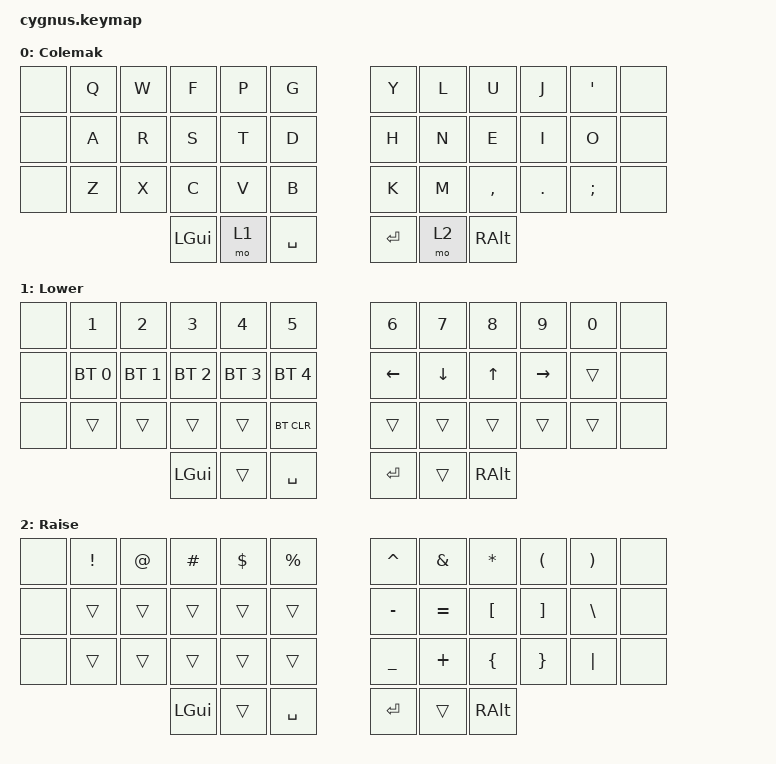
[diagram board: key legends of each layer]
/*
 * Copyright (c) 2020 The ZMK Contributors
 *
 * SPDX-License-Identifier: MIT
 */

#include <behaviors.dtsi>
#include <dt-bindings/zmk/keys.h>
#include <dt-bindings/zmk/bt.h>

/ {
    keymap {
        compatible = "zmk,keymap";

        default_layer { // layer 0

            display-name = "Colemak";
// -----------------------------------------------------------------------------------------
// |      |   Q   |   W   |   F   |   P   |   G   |   |   Y   |   L   |   U   |   J   |   '   |      |
// |      |   A   |   R   |   S   |   T   |   D   |   |   H   |   N   |   E   |   I   |   O   |      |
// |      |   Z   |   X   |   C   |   V   |   B   |   |   K   |   M   |   ,   |   .   |   ;   |      |
//                        |  GUI  |  LWR  |  SPC  |   |  ENT  |  RSE  |  ALT  | 
            bindings = <
    &none  &kp Q   &kp W   &kp F   &kp P   &kp G       &kp Y   &kp L   &kp U   &kp J   &kp SQT  &none
    &none  &kp A   &kp R   &kp S   &kp T   &kp D       &kp H   &kp N   &kp E   &kp I   &kp O    &none
    &none  &kp Z   &kp X   &kp C   &kp V   &kp B       &kp K   &kp M   &kp COMMA &kp DOT &kp SEMI &none
                           &kp LGUI &mo 1  &kp SPACE   &kp RET &mo 2   &kp RALT
            >;
        };
        lower_layer { // layer 1
            display-name = "Lower";
// -----------------------------------------------------------------------------------------
// |  TAB |  1  |  2  |  3  |  4  |  5  |   |  6  |  7  |  8  |  9  |  0  | BSPC |
// | BTCLR| BT1 | BT2 | BT3 | BT4 | BT5 |   | LFT | DWN |  UP | RGT |     |      |
// | SHFT |     |     |     |     |     |   |     |     |     |     |     |      |
//                    | GUI |     | SPC |   | ENT |     | ALT |
            bindings = <
   &none    &kp N1       &kp N2       &kp N3       &kp N4       &kp N5         &kp N6   &kp N7   &kp N8 &kp N9    &kp N0 &none
   &none    &bt BT_SEL 0 &bt BT_SEL 1 &bt BT_SEL 2 &bt BT_SEL 3 &bt BT_SEL 4   &kp LEFT &kp DOWN &kp UP &kp RIGHT &trans &none
   &none    &trans       &trans       &trans       &trans       &bt BT_CLR     &trans   &trans   &trans &trans    &trans &none
                                      &kp LGUI     &trans       &kp SPACE      &kp RET  &trans   &kp RALT
                        >;
        };

        raise_layer { // layer 2
            display-name = "Raise";
// -----------------------------------------------------------------------------------------
// |  TAB |  !  |  @  |  #  |  $  |  %  |   |  ^  |  &  |  *  |  (  |  )  | BSPC |
// | CTRL |     |     |     |     |     |   |  -  |  =  |  [  |  ]  |  \  |  `   |
// | SHFT |     |     |     |     |     |   |  _  |  +  |  {  |  }  | "|" |  ~   |
//                    | GUI |     | SPC |   | ENT |     | ALT |
            bindings = <
   &none   &kp EXCL &kp AT &kp HASH &kp DLLR &kp PRCNT   &kp CARET &kp AMPS  &kp ASTRK &kp LPAR &kp RPAR &none
   &none   &trans   &trans &trans   &trans   &trans      &kp MINUS &kp EQUAL &kp LBKT  &kp RBKT &kp BSLH &none
   &none   &trans   &trans &trans   &trans   &trans      &kp UNDER &kp PLUS  &kp LBRC  &kp RBRC &kp PIPE &none
                             &kp LGUI &trans   &kp SPACE   &kp RET   &trans    &kp RALT
                        >;
        };
    };
};
